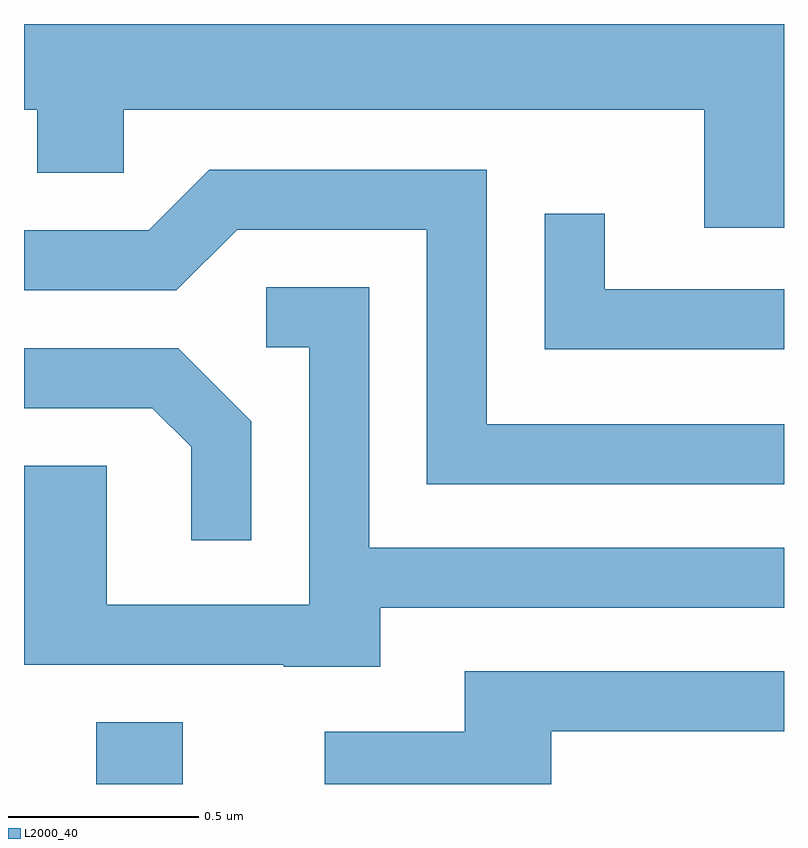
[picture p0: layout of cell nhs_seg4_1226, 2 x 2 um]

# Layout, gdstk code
import gdstk
lib = gdstk.Library(unit=1e-6, precision=1e-09)
def R(c, l, rs):  # rectangles x0, y0, x1, y1
    for r in rs: c.add(gdstk.rectangle(r[:2], r[2:], *l))
def P(c, l, *ps):  # polygons
    for p in ps: c.add(gdstk.Polygon(p, *l))
L2000_40 = (2000, 40)

nhs_seg4_1226 = lib.new_cell('nhs_seg4_1226')
R(nhs_seg4_1226, L2000_40, [(193.801,1383.982,194.029,1384.144)])
P(nhs_seg4_1226, L2000_40, [(195.611,1385.982),(193.611,1385.982),(193.611,1385.756),(193.646,1385.756),(193.646,1385.591),(193.874,1385.591),(193.874,1385.756),(195.401,1385.756),(195.401,1385.446),(195.611,1385.446)],
  [(195.611,1384.929),(194.829,1384.929),(194.829,1385.599),(194.099,1385.599),(193.939,1385.439),(193.611,1385.439),(193.611,1385.281),(194.012,1385.281),(194.172,1385.441),(194.671,1385.441),(194.671,1384.771),(195.611,1384.771)],
  [(195.611,1385.284),(195.139,1385.284),(195.139,1385.483),(194.981,1385.483),(194.981,1385.126),(195.611,1385.126)],
  [(194.549,1384.446),(195.611,1384.446),(195.611,1384.604),(194.519,1384.604),(194.519,1385.289),(194.248,1385.289),(194.248,1385.131),(194.361,1385.131),(194.361,1384.454),(193.829,1384.454),(193.829,1384.819),(193.611,1384.819),(193.611,1384.296),(194.295,1384.296),(194.295,1384.291),(194.549,1384.291)],
  [(194.209,1384.937),(194.017,1385.129),(193.611,1385.129),(193.611,1384.971),(193.949,1384.971),(194.051,1384.869),(194.051,1384.623),(194.209,1384.623)],
  [(194.999,1384.121),(195.611,1384.121),(195.611,1384.279),(194.771,1384.279),(194.771,1384.119),(194.403,1384.119),(194.403,1383.982),(194.999,1383.982)])

lib.write_gds('nhs_seg4_1226.gds')
